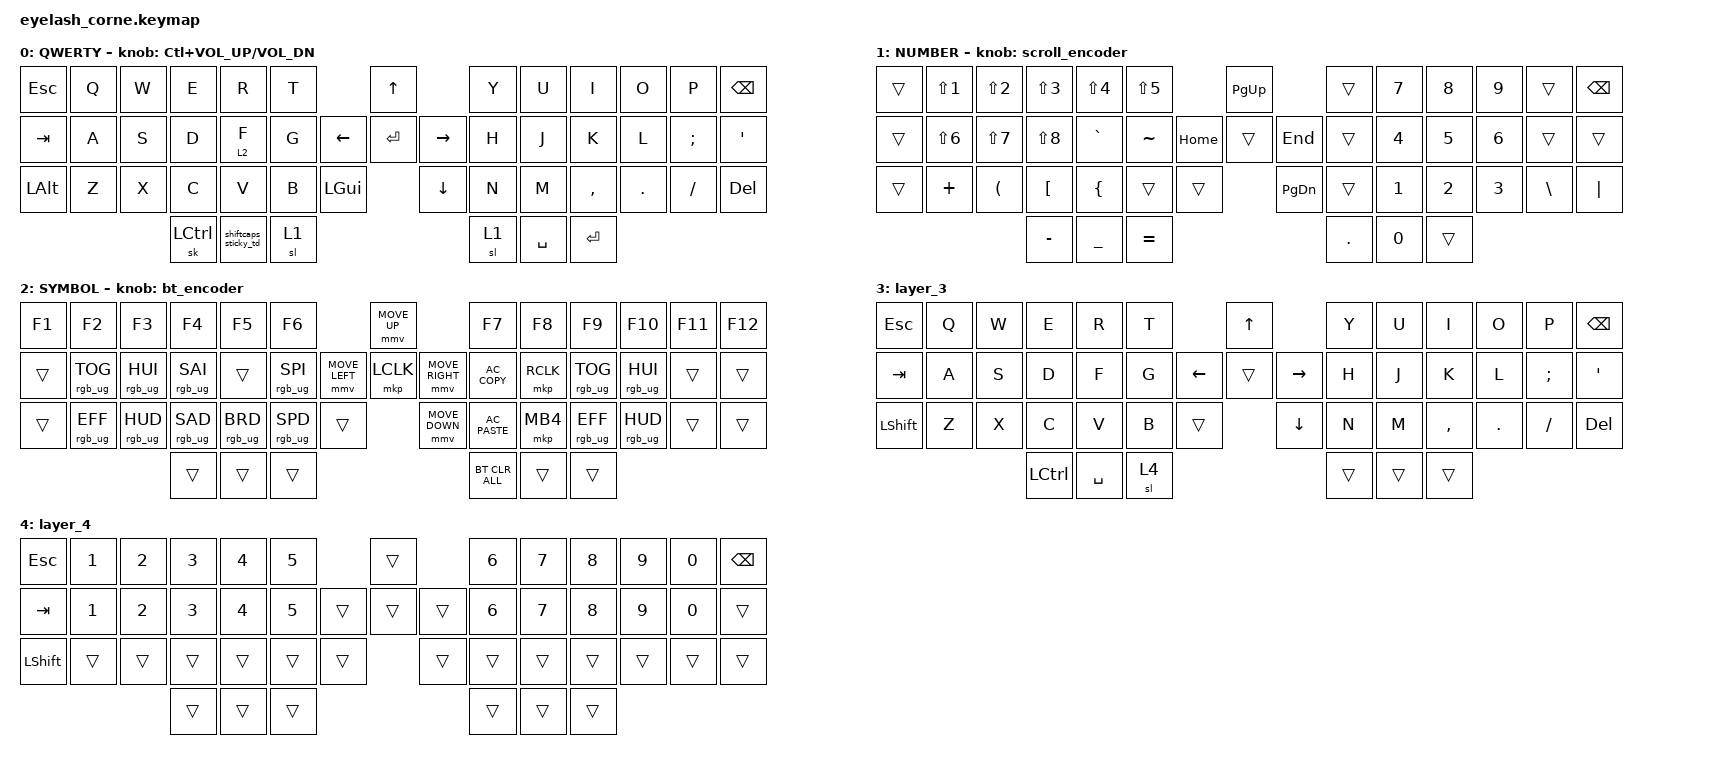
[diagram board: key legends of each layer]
#include <dt-bindings/zmk/mouse.h>
#include <input/processors.dtsi>
#include <behaviors.dtsi>
#include <dt-bindings/zmk/bt.h>
#include <dt-bindings/zmk/keys.h>
#include <dt-bindings/zmk/pointing.h>
#include <dt-bindings/zmk/rgb.h>

/*

   &mmv_input_listener {
       input-processors = <&zip_xy_scaler 2 1>;
   };

   &msc_input_listener {
       input-processors = <&zip_xy_scaler 2 1>;
   };

 */

#define ZMK_MOUSE_DEFAULT_MOVE_VAL 1200  // 600
#define ZMK_MOUSE_DEFAULT_SCRL_VAL 20    // 10

/ {
    behaviors {
        shiftcaps_sticky_td: td0 {
            compatible = "zmk,behavior-tap-dance";
            display-name = "Shift/Caps Lock Tap Dance";
            #binding-cells = <0>;
            bindings = <&sk LEFT_SHIFT>, <&caps_word>;
        };

        parenth_td: parenth_td {
            compatible = "zmk,behavior-tap-dance";
            label = "PARENTH_TD";
            #binding-cells = <0>;
            bindings = <&kp LEFT_PARENTHESIS>, <&kp RIGHT_PARENTHESIS>;
        };

        cut_copy: cut_copy {
            compatible = "zmk,behavior-tap-dance";
            label = "CUT_COPY";
            #binding-cells = <0>;
            bindings = <&kp LC(C)>, <&kp LC(X)>;
        };

        shiftlayer_td: shiftlayer_td {
            compatible = "zmk,behavior-tap-dance";
            label = "SHIFTLAYER_TD";
            #binding-cells = <0>;
            bindings = <&sl 1>, <&shiftlayer>;
        };

        quote_td: quote_td {
            compatible = "zmk,behavior-tap-dance";
            label = "QUOTE_TD";
            #binding-cells = <0>;
            bindings = <&kp APOS>, <&kp LS(APOS)>;
        };

        bt_encoder: bt_encoder {
            compatible = "zmk,behavior-sensor-rotate";
            label = "BT_ENCODER";
            #sensor-binding-cells = <0>;
            bindings = <&bt BT_NXT>, <&bt BT_PRV>;
        };
    };

    rgb_encoder: rgb_encoder {
        compatible = "zmk,behavior-sensor-rotate";
        #sensor-binding-cells = <0>;
        bindings = <&rgb_ug RGB_BRI>, <&rgb_ug RGB_BRD>;
    };

    scroll_encoder: scroll_encoder {
        compatible = "zmk,behavior-sensor-rotate";
        #sensor-binding-cells = <0>;
        bindings = <&msc SCRL_DOWN>, <&msc SCRL_UP>;

        tap-ms = <30>;
    };

    macros {
        shiftlayer: shiftlayer {
            compatible = "zmk,behavior-macro";
            #binding-cells = <0>;
            bindings =
                <&macro_press>,
                <&sk LEFT_SHIFT>,
                <&macro_release>,
                <&sk LEFT_SHIFT>,
                <&macro_press>,
                <&sl 1>,
                <&macro_release>,
                <&sl 1>;

            label = "SHIFTLAYER";
        };
    };

    combos {
        compatible = "zmk,combos";

        df-esc {
            bindings = <&kp ESCAPE>;
            key-positions = <16 17>;
        };
    };

    keymap {
        compatible = "zmk,keymap";

        default_layer {
            display-name = "QWERTY";
            bindings = <
&kp ESCAPE    &kp Q  &kp W  &kp E      &kp R                 &kp T                            &kp UP                &kp Y  &kp U      &kp I      &kp O    &kp P     &kp BACKSPACE
&kp TAB       &kp A  &kp S  &kp D      &lt 2 F               &kp G                  &kp LEFT  &kp ENTER  &kp RIGHT  &kp H  &kp J      &kp K      &kp L    &kp SEMI  &kp APOS
&kp LEFT_ALT  &kp Z  &kp X  &kp C      &kp V                 &kp B  &kp LEFT_GUI              &kp DOWN              &kp N  &kp M      &kp COMMA  &kp DOT  &kp FSLH  &kp DEL
                            &sk LCTRL  &shiftcaps_sticky_td  &sl 1                                                  &sl 1  &kp SPACE  &kp ENTER
            >;

            sensor-bindings = <&inc_dec_kp LC(C_VOL_UP) C_VOL_DN>;
        };

        lower_layer {
            display-name = "NUMBER";
            bindings = <
&trans  &kp LS(N1)  &kp LS(N2)            &kp LS(N3)  &kp LS(N4)      &kp LS(N5)                      &kp PG_UP               &trans      &kp N7  &kp N8  &kp N9  &trans         &kp BSPC
&trans  &kp LS(N6)  &kp LS(N7)            &kp LS(N8)  &kp GRAVE       &kp TILDE             &kp HOME  &trans         &kp END  &trans      &kp N4  &kp N5  &kp N6  &trans         &trans
&trans  &kp PLUS    &kp LEFT_PARENTHESIS  &kp LBKT    &kp LEFT_BRACE  &trans      &trans              &kp PAGE_DOWN           &trans      &kp N1  &kp N2  &kp N3  &kp BACKSLASH  &kp PIPE
                                          &kp MINUS   &kp UNDER       &kp EQUAL                                               &kp PERIOD  &kp N0  &trans
            >;

            sensor-bindings = <&scroll_encoder>;
        };

        raise_layer {
            display-name = "SYMBOL";
            bindings = <
&kp F1  &kp F2           &kp F3           &kp F4           &kp F5           &kp F6                                     &mmv MOVE_UP                     &kp F7          &kp F8     &kp F9           &kp F10          &kp F11  &kp F12
&trans  &rgb_ug RGB_TOG  &rgb_ug RGB_HUI  &rgb_ug RGB_SAI  &trans           &rgb_ug RGB_SPI            &mmv MOVE_LEFT  &mkp LCLK       &mmv MOVE_RIGHT  &kp C_AC_COPY   &mkp RCLK  &rgb_ug RGB_TOG  &rgb_ug RGB_HUI  &trans   &trans
&trans  &rgb_ug RGB_EFF  &rgb_ug RGB_HUD  &rgb_ug RGB_SAD  &rgb_ug RGB_BRD  &rgb_ug RGB_SPD  &trans                    &mmv MOVE_DOWN                   &kp C_AC_PASTE  &mkp MB4   &rgb_ug RGB_EFF  &rgb_ug RGB_HUD  &trans   &trans
                                          &trans           &trans           &trans                                                                      &bt BT_CLR_ALL  &trans     &trans
            >;

            sensor-bindings = <&bt_encoder>;
        };

        layer_3 {
            bindings = <
&kp ESC    &kp Q  &kp W  &kp E      &kp R      &kp T                      &kp UP_ARROW             &kp Y   &kp U   &kp I      &kp O    &kp P     &kp BSPC
&kp TAB    &kp A  &kp S  &kp D      &kp F      &kp G            &kp LEFT  &trans        &kp RIGHT  &kp H   &kp J   &kp K      &kp L    &kp SEMI  &kp APOS
&kp LSHFT  &kp Z  &kp X  &kp C      &kp V      &kp B  &trans              &kp DOWN                 &kp N   &kp M   &kp COMMA  &kp DOT  &kp FSLH  &kp DEL
                         &kp LCTRL  &kp SPACE  &sl 4                                               &trans  &trans  &trans
            >;
        };

        layer_4 {
            bindings = <
&kp ESC    &kp N1  &kp N2  &kp N3  &kp N4  &kp N5                    &trans          &kp N6  &kp N7  &kp N8  &kp N9  &kp N0  &kp BSPC
&kp TAB    &kp N1  &kp N2  &kp N3  &kp N4  &kp N5            &trans  &trans  &trans  &kp N6  &kp N7  &kp N8  &kp N9  &kp N0  &trans
&kp LSHFT  &trans  &trans  &trans  &trans  &trans  &trans            &trans          &trans  &trans  &trans  &trans  &trans  &trans
                           &trans  &trans  &trans                                    &trans  &trans  &trans
            >;
        };
    };
};
